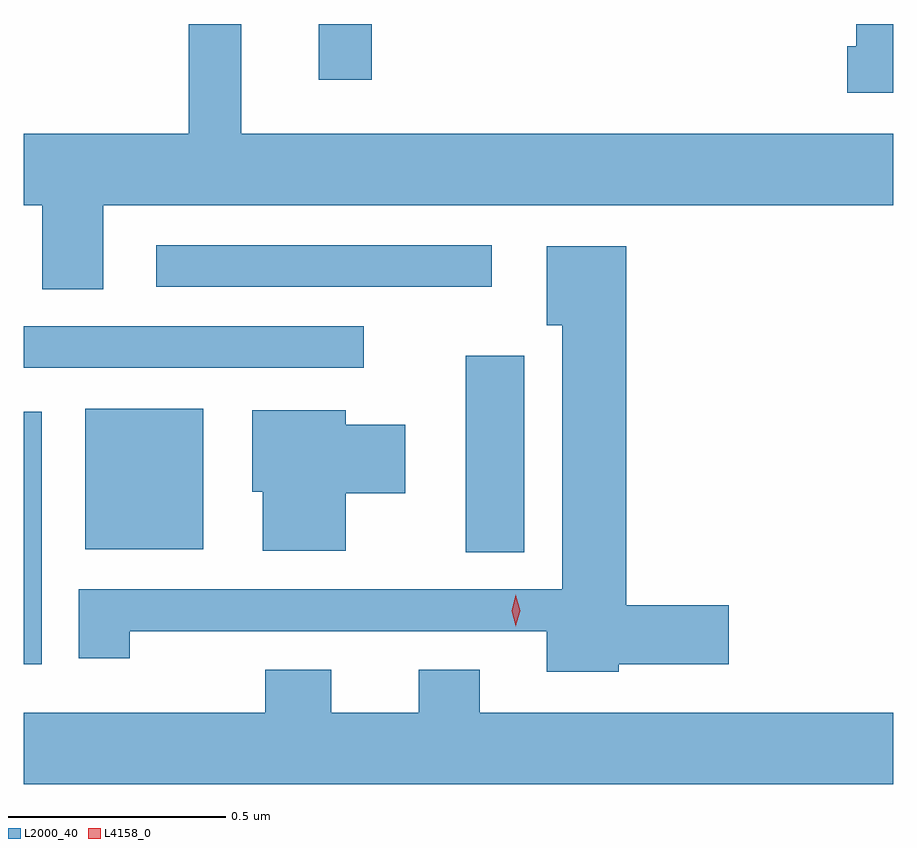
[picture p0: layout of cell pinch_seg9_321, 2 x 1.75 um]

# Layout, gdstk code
import gdstk
lib = gdstk.Library(unit=1e-6, precision=1e-09)
def R(c, l, rs):  # rectangles x0, y0, x1, y1
    for r in rs: c.add(gdstk.rectangle(r[:2], r[2:], *l))
def P(c, l, *ps):  # polygons
    for p in ps: c.add(gdstk.Polygon(p, *l))
L2000_40 = (2000, 40)
L4158_0 = (4158, 0)

pinch_seg9_321 = lib.new_cell('pinch_seg9_321')
R(pinch_seg9_321, L2000_40, [(574.367,1202.024,574.408,1202.605), (575.384,1202.281,575.518,1202.734), (574.508,1202.288,574.78,1202.611), (574.367,1202.706,575.149,1202.802), (574.671,1202.892,575.443,1202.988), (575.045,1203.369,575.167,1203.497)])
P(pinch_seg9_321, L2000_40, [(574.549,1203.08),(576.367,1203.08),(576.367,1203.244),(574.867,1203.244),(574.867,1203.497),(574.746,1203.497),(574.746,1203.244),(574.367,1203.244),(574.367,1203.08),(574.409,1203.08),(574.409,1202.887),(574.549,1202.887)],
  [(576.367,1203.497),(576.282,1203.497),(576.282,1203.446),(576.262,1203.446),(576.262,1203.339),(576.367,1203.339)],
  [(575.736,1202.024),(575.989,1202.024),(575.989,1202.159),(575.753,1202.159),(575.753,1202.986),(575.57,1202.986),(575.57,1202.804),(575.606,1202.804),(575.606,1202.196),(574.493,1202.196),(574.493,1202.037),(574.611,1202.037),(574.611,1202.099),(574.838,1202.099),(574.838,1202.1),(575.57,1202.1),(575.57,1202.006),(575.736,1202.006)],
  [(575.107,1202.417),(575.245,1202.417),(575.245,1202.575),(575.107,1202.575),(575.107,1202.608),(574.892,1202.608),(574.892,1202.421),(574.916,1202.421),(574.916,1202.285),(575.107,1202.285)],
  [(576.367,1201.912),(575.416,1201.912),(575.416,1202.011),(575.276,1202.011),(575.276,1201.912),(575.074,1201.912),(575.074,1202.011),(574.922,1202.011),(574.922,1201.912),(574.367,1201.912),(574.367,1201.748),(576.367,1201.748)])
P(pinch_seg9_321, L4158_0, [(575.499,1202.111),(575.499,1202.112),(575.489,1202.147),(575.499,1202.182),(575.499,1202.183),(575.499,1202.182),(575.509,1202.147),(575.499,1202.112)])

lib.write_gds('pinch_seg9_321.gds')
